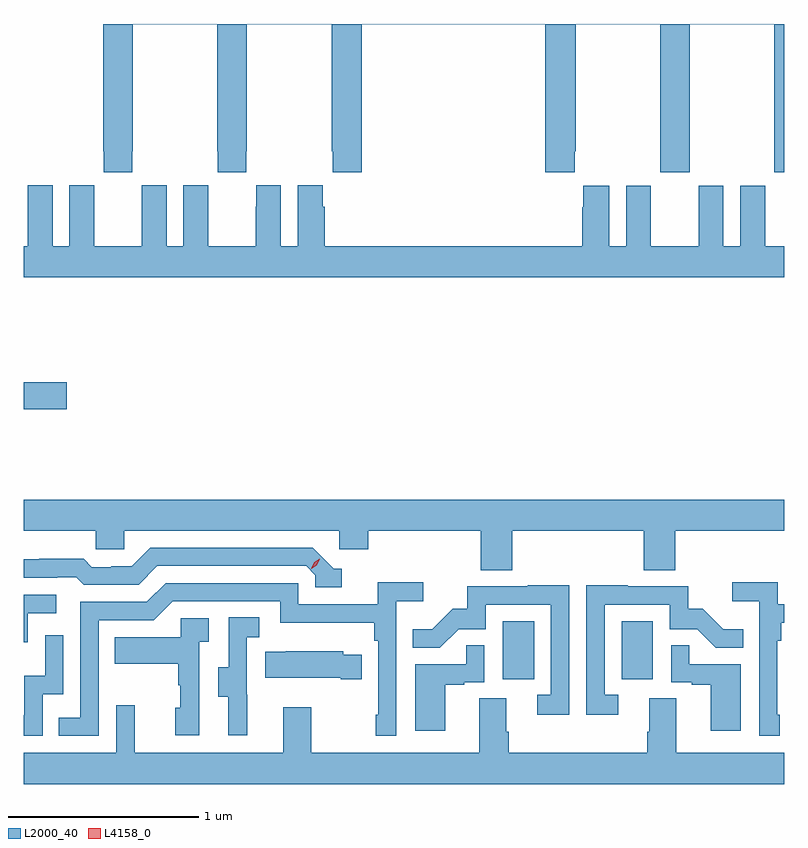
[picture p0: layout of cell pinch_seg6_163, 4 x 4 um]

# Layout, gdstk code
import gdstk
lib = gdstk.Library(unit=1e-6, precision=1e-09)
def R(c, l, rs):  # rectangles x0, y0, x1, y1
    for r in rs: c.add(gdstk.rectangle(r[:2], r[2:], *l))
def P(c, l, *ps):  # polygons
    for p in ps: c.add(gdstk.Polygon(p, *l))
L2000_40 = (2000, 40)
L4158_0 = (4158, 0)

pinch_seg6_163 = lib.new_cell('pinch_seg6_163')
R(pinch_seg6_163, L2000_40, [(1023.836,939.894,1024,940.201), (1024.46,939.894,1024.624,940.201), (1021.316,941.314,1021.543,941.456)])
P(pinch_seg6_163, L2000_40, [(1021.316,943.34),(1021.735,943.34),(1021.735,942.673),(1021.737,942.673),(1021.737,942.561),(1021.887,942.561),(1021.887,942.673),(1021.89,942.673),(1021.89,943.34),(1022.335,943.34),(1022.335,942.673),(1022.337,942.673),(1022.337,942.561),(1022.487,942.561),(1022.487,942.673),(1022.49,942.673),(1022.49,943.34),(1022.935,943.34),(1022.935,942.673),(1022.941,942.673),(1022.941,942.561),(1023.095,942.561),(1023.095,943.34),(1024.058,943.34),(1024.058,942.561),(1024.213,942.561),(1024.213,942.673),(1024.218,942.673),(1024.218,943.34),(1024.663,943.34),(1024.663,942.561),(1024.818,942.561),(1024.818,943.34),(1025.263,943.34),(1025.263,942.561),(1025.316,942.561),(1025.316,943.341),(1021.316,943.341)],
  [(1025.316,942.172),(1025.215,942.172),(1025.215,942.49),(1025.084,942.49),(1025.084,942.172),(1024.996,942.172),(1024.996,942.49),(1024.865,942.49),(1024.865,942.172),(1024.615,942.172),(1024.615,942.49),(1024.484,942.49),(1024.484,942.172),(1024.396,942.172),(1024.396,942.49),(1024.259,942.49),(1024.259,942.377),(1024.253,942.377),(1024.253,942.172),(1022.9,942.172),(1022.9,942.38),(1022.89,942.38),(1022.89,942.493),(1022.756,942.493),(1022.756,942.172),(1022.668,942.172),(1022.668,942.493),(1022.538,942.493),(1022.538,942.38),(1022.537,942.38),(1022.537,942.172),(1022.287,942.172),(1022.287,942.38),(1022.286,942.38),(1022.286,942.493),(1022.156,942.493),(1022.156,942.172),(1022.068,942.172),(1022.068,942.493),(1021.938,942.493),(1021.938,942.38),(1021.937,942.38),(1021.937,942.172),(1021.687,942.172),(1021.687,942.38),(1021.686,942.38),(1021.686,942.493),(1021.556,942.493),(1021.556,942.172),(1021.468,942.172),(1021.468,942.493),(1021.338,942.493),(1021.338,942.38),(1021.337,942.38),(1021.337,942.172),(1021.316,942.172),(1021.316,942.008),(1025.316,942.008)],
  [(1021.316,940.676),(1021.695,940.676),(1021.695,940.578),(1021.845,940.578),(1021.845,940.676),(1022.976,940.676),(1022.976,940.578),(1023.128,940.578),(1023.128,940.676),(1023.719,940.676),(1023.719,940.468),(1023.884,940.468),(1023.884,940.676),(1024.577,940.676),(1024.577,940.468),(1024.742,940.468),(1024.742,940.676),(1025.316,940.676),(1025.316,940.84),(1021.316,940.84)],
  [(1022.989,940.476),(1022.946,940.476),(1022.835,940.587),(1021.982,940.587),(1021.883,940.488),(1021.776,940.488),(1021.776,940.485),(1021.673,940.485),(1021.631,940.528),(1021.398,940.528),(1021.398,940.525),(1021.316,940.525),(1021.316,940.428),(1021.493,940.428),(1021.493,940.431),(1021.592,940.431),(1021.631,940.392),(1021.92,940.392),(1022.019,940.491),(1022.802,940.491),(1022.85,940.443),(1022.85,940.38),(1022.989,940.38)],
  [(1025.293,939.709),(1025.28,939.709),(1025.28,940.097),(1025.3,940.097),(1025.3,940.193),(1025.316,940.193),(1025.316,940.29),(1025.282,940.29),(1025.282,940.406),(1025.043,940.406),(1025.043,940.304),(1025.184,940.304),(1025.184,939.597),(1025.293,939.597)],
  [(1021.71,940.206),(1022.001,940.206),(1022.1,940.305),(1022.664,940.305),(1022.664,940.193),(1023.16,940.193),(1023.16,940.097),(1023.18,940.097),(1023.18,939.709),(1023.168,939.709),(1023.168,939.597),(1023.276,939.597),(1023.276,940.304),(1023.418,940.304),(1023.418,940.406),(1023.179,940.406),(1023.179,940.29),(1022.76,940.29),(1022.76,940.401),(1022.063,940.401),(1021.964,940.302),(1021.614,940.302),(1021.614,939.693),(1021.501,939.693),(1021.501,939.597),(1021.71,939.597)],
  [(1024.444,939.813),(1024.371,939.813),(1024.371,940.287),(1024.713,940.287),(1024.713,940.158),(1024.857,940.158),(1024.955,940.06),(1025.099,940.06),(1025.099,940.159),(1024.995,940.159),(1024.888,940.266),(1024.812,940.266),(1024.812,940.383),(1024.493,940.383),(1024.493,940.388),(1024.275,940.388),(1024.275,939.708),(1024.444,939.708)],
  [(1024.185,940.388),(1023.967,940.388),(1023.967,940.383),(1023.649,940.383),(1023.649,940.266),(1023.572,940.266),(1023.465,940.159),(1023.361,940.159),(1023.361,940.06),(1023.505,940.06),(1023.603,940.158),(1023.747,940.158),(1023.747,940.287),(1024.089,940.287),(1024.089,939.813),(1024.017,939.813),(1024.017,939.708),(1024.185,939.708)],
  [(1021.338,940.242),(1021.486,940.242),(1021.486,940.338),(1021.316,940.338),(1021.316,940.089),(1021.338,940.089)],
  [(1022.492,939.813),(1022.49,939.813),(1022.49,940.117),(1022.554,940.117),(1022.554,940.22),(1022.394,940.22),(1022.394,939.957),(1022.339,939.957),(1022.339,939.802),(1022.393,939.802),(1022.393,939.6),(1022.492,939.6)],
  [(1022.238,940.091),(1022.29,940.091),(1022.29,940.215),(1022.142,940.215),(1022.142,940.117),(1021.795,940.117),(1021.795,939.977),(1022.13,939.977),(1022.13,939.863),(1022.14,939.863),(1022.14,939.744),(1022.114,939.744),(1022.114,939.6),(1022.238,939.6)],
  [(1021.416,939.816),(1021.524,939.816),(1021.524,940.126),(1021.428,940.126),(1021.428,939.914),(1021.319,939.914),(1021.319,939.706),(1021.316,939.706),(1021.316,939.597),(1021.416,939.597)],
  [(1025.086,939.975),(1024.817,939.975),(1024.817,940.073),(1024.722,940.073),(1024.722,939.879),(1024.829,939.879),(1024.829,939.867),(1024.928,939.867),(1024.928,939.624),(1025.086,939.624)],
  [(1023.532,939.867),(1023.632,939.867),(1023.632,939.879),(1023.738,939.879),(1023.738,940.073),(1023.643,940.073),(1023.643,939.975),(1023.374,939.975),(1023.374,939.624),(1023.532,939.624)],
  [(1023.095,940.024),(1022.997,940.024),(1022.997,940.042),(1022.695,940.042),(1022.695,940.039),(1022.587,940.039),(1022.587,939.902),(1022.984,939.902),(1022.984,939.895),(1023.095,939.895)],
  [(1025.316,939.508),(1024.747,939.508),(1024.747,939.794),(1024.607,939.794),(1024.607,939.62),(1024.595,939.62),(1024.595,939.508),(1023.866,939.508),(1023.866,939.62),(1023.853,939.62),(1023.853,939.794),(1023.713,939.794),(1023.713,939.508),(1022.829,939.508),(1022.829,939.748),(1022.681,939.748),(1022.681,939.508),(1021.901,939.508),(1021.901,939.757),(1021.803,939.757),(1021.803,939.508),(1021.316,939.508),(1021.316,939.344),(1025.316,939.344)])
P(pinch_seg6_163, L4158_0, [(1022.827,940.476),(1022.827,940.476),(1022.843,940.509),(1022.874,940.528),(1022.874,940.528),(1022.874,940.528),(1022.858,940.495),(1022.827,940.476)])

lib.write_gds('pinch_seg6_163.gds')
